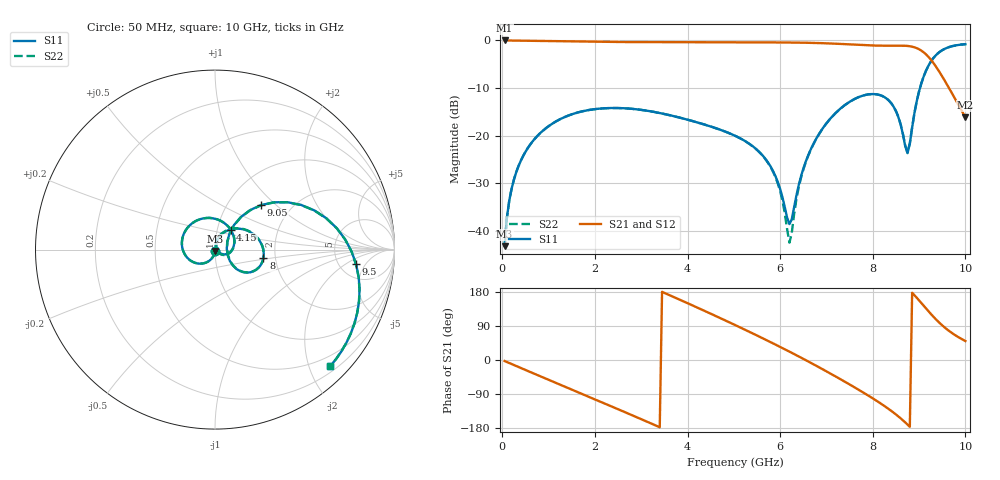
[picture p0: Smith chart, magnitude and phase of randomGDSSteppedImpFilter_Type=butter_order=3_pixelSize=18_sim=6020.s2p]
! freq	dB(S11)	phase(S11)	dB(S12)	phase(S12)
!  dB(S21)	phase(S21)	dB(S22)	phase(S22)
!S-par simulation data
#  GHz  S  DB  R 50
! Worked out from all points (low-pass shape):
!   200 points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, 50 MHz to 10 GHz, reference 50 ohm
!   highest |S21| = 0.00 dB at 50 MHz (marker M1); lowest = -16.1 dB at 10 GHz (marker M2)
!   |S21| within 3 dB of the highest: start of sweep to 9.158 GHz
!   lowest |S11| = -43.2 dB at 50 MHz (marker M3), VSWR 1.01, Z = 50 - j0.695 ohm
!   |S11| at or under -10 dB: start of sweep to 9.02 GHz
!   |S22| runs from -43.2 to -0.8 dB; largest |S21 - S12| = 0
!   S11 on the Smith chart (normalised r, x): 50 MHz: 1.00, -0.01; 4.15 GHz: 1.16, +0.26; 8 GHz: 1.73, -0.17; 9.05 GHz: 1.42, +0.81; 9.5 GHz: 7.15, -3.13; 10 GHz: 0.30, -2.37
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0.05  -43.15 -92.1  -0.00 -2.7  -0.00 -2.7  -43.15 -92.1
0.2  -31.14 -100.5  -0.02 -10.6  -0.02 -10.6  -31.14 -100.5
0.5  -23.36 -116.4  -0.05 -26.3  -0.05 -26.3  -23.37 -116.4
1.15  -17.03 -150.6  -0.15 -60.1  -0.15 -60.1  -17.03 -150.7
1.75  -14.82 178.1  -0.25 -91.0  -0.25 -91.0  -14.82 177.9
2.5  -14.18 139.3  -0.33 -129.9  -0.33 -129.9  -14.18 139.0
3.4  -15.23 91.9  -0.36 -177.4  -0.36 -177.4  -15.23 91.2
4.15  -17.02 51.7  -0.37 141.7  -0.37 141.7  -17.03 50.4
5.05  -20.10 3.3  -0.39 91.0  -0.39 91.0  -20.11 1.1
5.85  -27.46 -33.3  -0.41 43.7  -0.41 43.7  -27.62 -39.1
6.05  -32.91 -29.6  -0.43 31.5  -0.43 31.5  -33.62 -40.2
6.2  -38.52 16.5  -0.44 22.1  -0.44 22.1  -42.41 13.2
6.45  -28.52 76.0  -0.47 6.3  -0.47 6.3  -28.82 82.4
6.7  -22.06 70.0  -0.51 -9.9  -0.51 -9.9  -22.13 73.0
7.4  -13.53 29.6  -0.78 -57.5  -0.78 -57.5  -13.54 30.5
8  -11.25 -9.7  -1.06 -101.2  -1.06 -101.2  -11.25 -9.2
8.35  -12.63 -32.8  -1.10 -129.8  -1.10 -129.8  -12.62 -32.4
8.75  -23.65 3.6  -1.16 -170.3  -1.16 -170.3  -23.46 3.7
9.05  -8.96 44.1  -2.14 150.3  -2.14 150.3  -8.96 43.9
9.25  -4.51 21.5  -3.98 122.1  -3.98 122.1  -4.51 21.4
9.5  -2.04 -6.0  -7.55 91.4  -7.55 91.4  -2.04 -6.0
10  -0.79 -45.3  -16.15 50.1  -16.15 50.1  -0.79 -45.3
